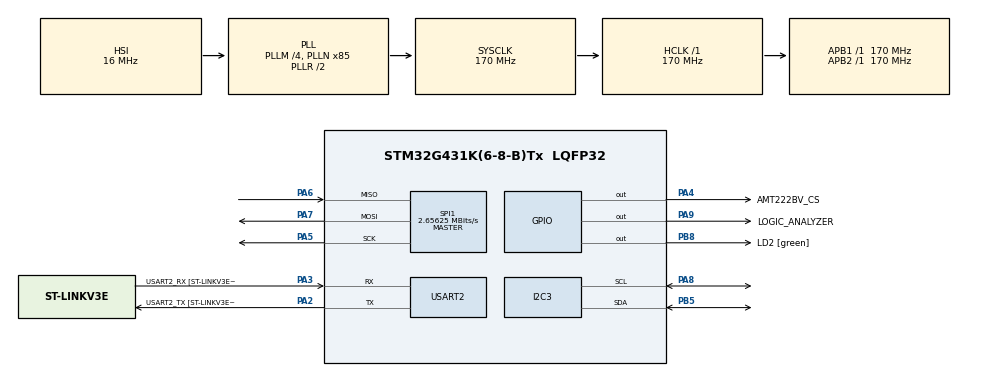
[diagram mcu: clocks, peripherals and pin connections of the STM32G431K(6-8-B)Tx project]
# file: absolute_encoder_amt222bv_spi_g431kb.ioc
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I2C3.Timing=0x40B285C2
Mcu.Family=STM32G4
Mcu.Name=STM32G431K(6-8-B)Tx
Mcu.Package=LQFP32
NVIC.PriorityGroup=NVIC_PRIORITYGROUP_4
NVIC.SPI1_IRQn=true\:0\:0\:false\:false\:true\:true\:true\:true
NVIC.TIM8_UP_IRQn=true\:0\:0\:false\:false\:true\:true\:true\:true
PA13.GPIO_Label=T_SWDIO
PA13.Mode=Serial_Wire
PA13.Signal=SYS_JTMS-SWDIO
PA14.GPIO_Label=T_SWCLK
PA14.Mode=Serial_Wire
PA14.Signal=SYS_JTCK-SWCLK
PA2.GPIO_Label=USART2_TX [ST-LINKV3E_VCP_RX]
PA2.Mode=Asynchronous
PA2.Signal=USART2_TX
PA3.GPIO_Label=USART2_RX [ST-LINKV3E_VCP_TX]
PA3.Mode=Asynchronous
PA3.Signal=USART2_RX
PA4.GPIO_Label=AMT222BV_CS
PA4.PinState=GPIO_PIN_SET
PA4.Signal=GPIO_Output
PA5.Mode=Full_Duplex_Master
PA5.Signal=SPI1_SCK
PA6.Mode=Full_Duplex_Master
PA6.Signal=SPI1_MISO
PA7.Mode=Full_Duplex_Master
PA7.Signal=SPI1_MOSI
PA8.Mode=I2C
PA8.Signal=I2C3_SCL
PA9.GPIO_Label=LOGIC_ANALYZER
PA9.Signal=GPIO_Output
PB3.GPIO_Label=T_SWO
PB3.Signal=SYS_JTDO-SWO
PB5.Mode=I2C
PB5.Signal=I2C3_SDA
PB8-BOOT0.GPIO_Label=LD2 [green]
PB8-BOOT0.Signal=GPIO_Output
ProjectManager.HeapSize=0x200
ProjectManager.StackSize=0x400
ProjectManager.TargetToolchain=STM32CubeIDE
RCC.ADC12Freq_Value=170000000
RCC.AHBFreq_Value=170000000
RCC.APB1Freq_Value=170000000
RCC.APB1TimFreq_Value=170000000
RCC.APB2Freq_Value=170000000
RCC.APB2TimFreq_Value=170000000
RCC.CortexFreq_Value=170000000
RCC.EXTERNAL_CLOCK_VALUE=12288000
RCC.HCLKFreq_Value=170000000
RCC.HSE_VALUE=8000000
RCC.HSI48_VALUE=48000000
RCC.HSI_VALUE=16000000
RCC.LSE_VALUE=32768
RCC.PLLM=RCC_PLLM_DIV4
RCC.PLLN=85
RCC.SYSCLKFreq_VALUE=170000000
RCC.SYSCLKSource=RCC_SYSCLKSOURCE_PLLCLK
RCC.USBFreq_Value=170000000
RCC.VCOOutputFreq_Value=340000000
SPI1.BaudRatePrescaler=SPI_BAUDRATEPRESCALER_64
SPI1.CalculateBaudRate=2.65625 MBits/s
SPI1.DataSize=SPI_DATASIZE_8BIT
SPI1.Direction=SPI_DIRECTION_2LINES
SPI1.Mode=SPI_MODE_MASTER
SPI1.VirtualType=VM_MASTER
TIM4.Prescaler=0
TIM8.AutoReloadPreload=TIM_AUTORELOAD_PRELOAD_DISABLE
TIM8.PeriodNoDither=65535
TIM8.Prescaler=0
USART2.VirtualMode-Asynchronous=VM_ASYNC
USART2.WordLength=WORDLENGTH_8B
VP_SYS_VS_DBSignals.Mode=DisableDeadBatterySignals
VP_TIM1_VS_ClockSourceINT.Mode=Internal
VP_TIM4_VS_ClockSourceINT.Mode=Internal
VP_TIM8_VS_ClockSourceINT.Mode=Internal
board=NUCLEO-G431KB

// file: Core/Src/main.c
/* USER CODE BEGIN Header */
/**
 ******************************************************************************
 * @file           : main.c
 * @brief          : Main program body
 ******************************************************************************
 * @attention
 *
 * Copyright (c) 2024 STMicroelectronics.
 * All rights reserved.
 *
 * This software is licensed under terms that can be found in the LICENSE file
 * in the root directory of this software component.
 * If no LICENSE file comes with this software, it is provided AS-IS.
 *
 ******************************************************************************
 */
/* USER CODE END Header */
#include "main.h"
#include "i2c.h"
#include "spi.h"
#include "tim.h"
#include "usart.h"
#include "gpio.h"

/* USER CODE BEGIN Includes */
#include <stdio.h>
#include <stdlib.h>
#include <string.h>

#include "ssd1306.h"
#include "amt22_single_turn.h"

/* USER CODE END Includes */

/* USER CODE BEGIN PD */

//#define NON_BLOCKING_MODE
//#define FREEZE_TIM4
/* USER CODE END PD */

/* USER CODE BEGIN PV */
uint32_t t1;
uint32_t t2;
uint32_t diff21;

char lcd_line[32];

extern volatile uint8_t ready_to_be_read;

/* USER CODE END PV */

void SystemClock_Config(void);

int main(void)
{

	/* MCU Configuration--------------------------------------------------------*/

	/* Reset of all peripherals, Initializes the Flash interface and the Systick. */
	HAL_Init();

	/* Configure the system clock */
	SystemClock_Config();

	/* Initialize all configured peripherals */
	MX_GPIO_Init();
	MX_USART2_UART_Init();
	MX_I2C3_Init();
	MX_SPI1_Init();
	MX_TIM4_Init();
	MX_TIM1_Init();
	MX_TIM8_Init();
	/* USER CODE BEGIN 2 */

	// Debug Watch and Trace (DWT) module
	CoreDebug->DEMCR |= CoreDebug_DEMCR_TRCENA_Msk;
	DWT->CYCCNT = 0;
	DWT->CTRL |= DWT_CTRL_CYCCNTENA_Msk;

	// Freezing peripherals when the core is paused
#ifdef FREEZE_TIM4
	__HAL_DBGMCU_FREEZE_TIM4();
#else
	__HAL_DBGMCU_UNFREEZE_TIM4();
#endif
	HAL_TIM_PWM_Start(&htim4, TIM_CHANNEL_1);
//	HAL_TIM_Base_Start(&htim4); // HAL_TIM_PWM_Start() starts the base

	ssd1306_Init();

	ssd1306_Fill(Black);
	ssd1306_SetCursor(20, 0);
	ssd1306_WriteString("ufnalski.edu.pl", Font_6x8, White);
	ssd1306_SetCursor(12, 12);
	ssd1306_WriteString("Encoder [SPI, IT]", Font_6x8, White);
	ssd1306_SetCursor(20, 24);
	ssd1306_WriteString("AMT222B-V demo", Font_6x8, White);

	t1 = DWT->CYCCNT;
	// Code to measure
	t2 = DWT->CYCCNT;
	diff21 = t2 - t1;
	/* USER CODE END 2 */

	/* Infinite loop */
	/* USER CODE BEGIN WHILE */
	while (1)
	{

		ssd1306_SetCursor(2, 40);

#ifndef NON_BLOCKING_MODE
		sprintf(lcd_line, "Position: %d    ",
				getPositionSPI_shortest_blocking_time(&hspi1,
				AMT222BV_CS_GPIO_Port, AMT222BV_CS_Pin, AMT22_RES_14, &htim4));
//		sprintf(lcd_line, "Position: %d    ",
//						getPositionSPI(&hspi1,
//						AMT222BV_CS_GPIO_Port, AMT222BV_CS_Pin, AMT22_RES_14, &htim4));
#else
		sprintf(lcd_line, "Position: %d    ", getPosition(AMT22_RES_14));
#endif
		ssd1306_WriteString(lcd_line, Font_6x8, White);
		ssd1306_SetCursor(2, 52);
		sprintf(lcd_line, "Delta T: %lu    ", diff21);
		ssd1306_WriteString(lcd_line, Font_6x8, White);
		ssd1306_UpdateScreen();

#ifdef NON_BLOCKING_MODE
		if (ready_to_be_read == 1)
		{
			ready_to_be_read = 0;

			getEncoderRawDataSPI_non_blocking();

		}
#endif
		/* USER CODE END WHILE */

	}
}

void SystemClock_Config(void)
{
	RCC_OscInitTypeDef RCC_OscInitStruct =
	{ 0 };
	RCC_ClkInitTypeDef RCC_ClkInitStruct =
	{ 0 };

	/** Configure the main internal regulator output voltage
	 */
	HAL_PWREx_ControlVoltageScaling(PWR_REGULATOR_VOLTAGE_SCALE1_BOOST);

	/** Initializes the RCC Oscillators according to the specified parameters
	 * in the RCC_OscInitTypeDef structure.
	 */
	RCC_OscInitStruct.OscillatorType = RCC_OSCILLATORTYPE_HSI;
	RCC_OscInitStruct.HSIState = RCC_HSI_ON;
	RCC_OscInitStruct.HSICalibrationValue = RCC_HSICALIBRATION_DEFAULT;
	RCC_OscInitStruct.PLL.PLLState = RCC_PLL_ON;
	RCC_OscInitStruct.PLL.PLLSource = RCC_PLLSOURCE_HSI;
	RCC_OscInitStruct.PLL.PLLM = RCC_PLLM_DIV4;
	RCC_OscInitStruct.PLL.PLLN = 85;
	RCC_OscInitStruct.PLL.PLLP = RCC_PLLP_DIV2;
	RCC_OscInitStruct.PLL.PLLQ = RCC_PLLQ_DIV2;
	RCC_OscInitStruct.PLL.PLLR = RCC_PLLR_DIV2;
	if (HAL_RCC_OscConfig(&RCC_OscInitStruct) != HAL_OK)
	{
		Error_Handler();
	}

	/** Initializes the CPU, AHB and APB buses clocks
	 */
	RCC_ClkInitStruct.ClockType = RCC_CLOCKTYPE_HCLK | RCC_CLOCKTYPE_SYSCLK
			| RCC_CLOCKTYPE_PCLK1 | RCC_CLOCKTYPE_PCLK2;
	RCC_ClkInitStruct.SYSCLKSource = RCC_SYSCLKSOURCE_PLLCLK;
	RCC_ClkInitStruct.AHBCLKDivider = RCC_SYSCLK_DIV1;
	RCC_ClkInitStruct.APB1CLKDivider = RCC_HCLK_DIV1;
	RCC_ClkInitStruct.APB2CLKDivider = RCC_HCLK_DIV1;

	if (HAL_RCC_ClockConfig(&RCC_ClkInitStruct, FLASH_LATENCY_4) != HAL_OK)
	{
		Error_Handler();
	}
}

void Error_Handler(void)
{
	__disable_irq();
	while (1)
	{
	}
}
